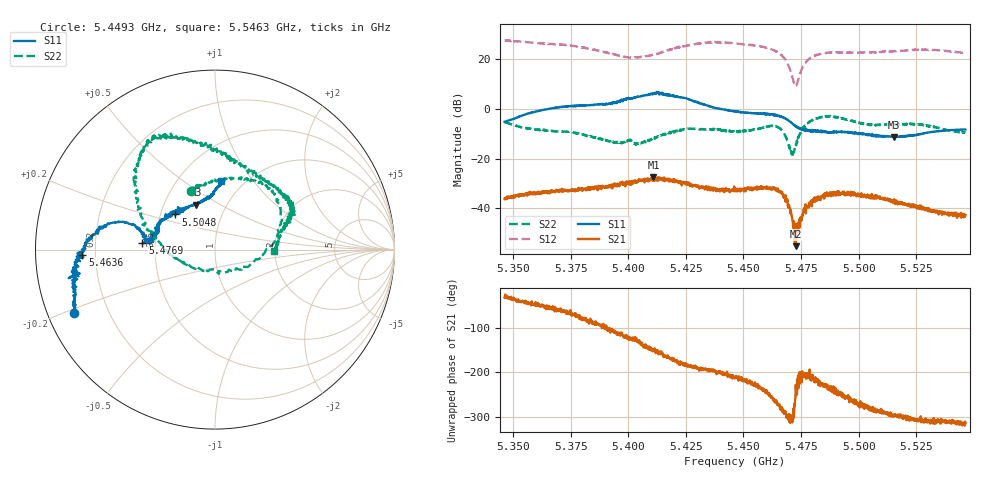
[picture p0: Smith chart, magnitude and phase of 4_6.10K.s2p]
# Hz  S  DB  R  50
! ADVANTEST Corporation R3860A
! Date: Wed Apr 11 19:52:53 2007
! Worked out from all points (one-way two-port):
!   1601 points, 5.3463 GHz to 5.5463 GHz, reference 50 ohm
!   highest |S21| = -27.59 dB at 5.4109 GHz (marker M1); lowest = -55.3 dB at 5.4727 GHz (marker M2)
!   lowest |S11| = -11.3 dB at 5.5154 GHz (marker M3), VSWR 1.75, Z = 35.9 + j19.4 ohm
!   |S11| at or under -10 dB: 5.500354 GHz to 5.500579 GHz (225.3 kHz wide, 0.0041 % of centre); 5.500772 GHz to 5.501006 GHz (234 kHz wide, 0.00425 % of centre); 5.502198 GHz to 5.5274 GHz (25.2 MHz wide, 0.457 % of centre) (the widest 3 of 7)
!   |S22| runs from -19.2 to -2.8 dB; largest |S21 - S12| = 24
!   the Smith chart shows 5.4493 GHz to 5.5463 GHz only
!   S11 on the Smith chart (normalised r, x): 5.4493 GHz: 0.08, -0.21; 5.4636 GHz: 0.15, -0.02; 5.4769 GHz: 0.42, +0.04; 5.5048 GHz: 0.60, +0.26; 5.5463 GHz: 0.79, +0.71
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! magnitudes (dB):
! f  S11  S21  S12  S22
! 5.3463 GHz  -5.2  -36.2  27.6  -5.2
! 5.3626 GHz  -0.5  -34.0  26.4  -8.5
! 5.3797 GHz  1.4  -32.0  24.9  -10.3
! 5.4037 GHz  4.8  -29.7  20.8  -14.0
! 5.4109 GHz  6.3  -27.6  21.8  -11.7
! 5.4131 GHz  6.8  -28.4  22.3  -11.0
! 5.4257 GHz  4.1  -29.8  25.5  -8.0
! 5.4463 GHz  -1.0  -32.7  26.4  -9.0
! 5.4493 GHz  -1.3  -32.5  26.2  -9.0
! 5.4636 GHz  -2.6  -32.3  23.6  -6.9
! 5.4681 GHz  -3.8  -35.5  20.1  -10.8
! 5.4709 GHz  -5.7  -42.9  13.7  -18.3
! 5.4718 GHz  -6.4  -46.7  10.6  -17.3
! 5.4727 GHz  -7.0  -55.3  9.3  -14.2
! 5.4769 GHz  -7.8  -38.5  18.6  -6.3
! 5.4797 GHz  -9.1  -39.2  21.0  -4.7
! 5.4881 GHz  -9.4  -35.2  22.6  -3.2
! 5.5048 GHz  -10.6  -35.0  22.7  -6.4
! 5.5131 GHz  -11.0  -37.0  23.2  -6.4
! 5.5154 GHz  -11.3  -36.4  23.2  -6.1
! 5.5274 GHz  -10.0  -40.5  24.0  -6.3
! 5.5463 GHz  -8.3  -42.7  22.6  -9.6
